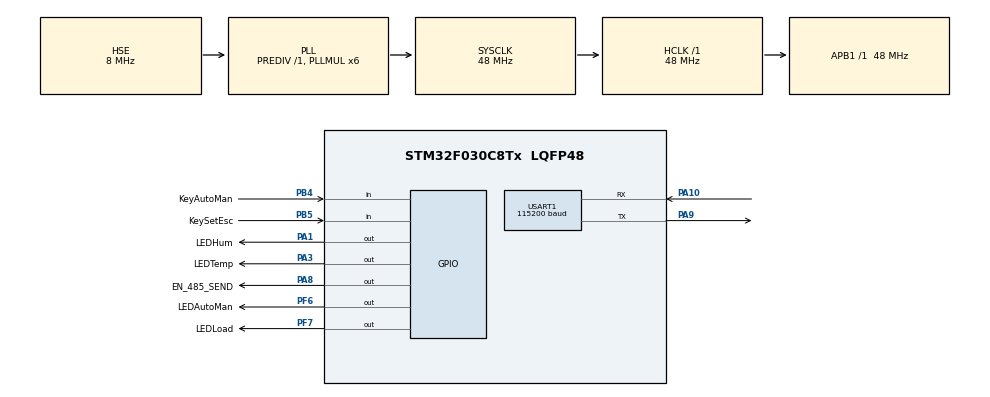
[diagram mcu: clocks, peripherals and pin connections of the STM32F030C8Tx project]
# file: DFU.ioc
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Mcu.Family=STM32F0
Mcu.Name=STM32F030C8Tx
Mcu.Package=LQFP48
PA1.GPIO_Label=LEDHum
PA1.GPIO_PuPd=GPIO_PULLUP
PA1.PinState=GPIO_PIN_SET
PA1.Signal=GPIO_Output
PA10.Mode=Asynchronous
PA10.Signal=USART1_RX
PA3.GPIO_Label=LEDTemp
PA3.GPIO_ModeDefaultOutputPP=GPIO_MODE_OUTPUT_PP
PA3.GPIO_PuPd=GPIO_PULLUP
PA3.PinState=GPIO_PIN_SET
PA3.Signal=GPIO_Output
PA8.GPIO_Label=EN_485_SEND
PA8.GPIO_PuPd=GPIO_PULLUP
PA8.Signal=GPIO_Output
PA9.Mode=Asynchronous
PA9.Signal=USART1_TX
PB4.GPIO_Label=KeyAutoMan
PB4.Signal=GPIO_Input
PB5.GPIO_Label=KeySetEsc
PB5.Signal=GPIO_Input
PF0-OSC_IN.Mode=HSE-External-Oscillator
PF0-OSC_IN.Signal=RCC_OSC_IN
PF1-OSC_OUT.Mode=HSE-External-Oscillator
PF1-OSC_OUT.Signal=RCC_OSC_OUT
PF6.GPIO_Label=LEDAutoMan
PF6.GPIO_ModeDefaultOutputPP=GPIO_MODE_OUTPUT_PP
PF6.GPIO_PuPd=GPIO_PULLUP
PF6.PinState=GPIO_PIN_SET
PF6.Signal=GPIO_Output
PF7.GPIO_Label=LEDLoad
PF7.GPIO_PuPd=GPIO_PULLUP
PF7.PinState=GPIO_PIN_SET
PF7.Signal=GPIO_Output
ProjectManager.HeapSize=0x200
ProjectManager.StackSize=0x400
ProjectManager.TargetToolchain=MDK-ARM V5
RCC.AHBFreq_Value=48000000
RCC.APB1Freq_Value=48000000
RCC.APB1TimFreq_Value=48000000
RCC.HCLKFreq_Value=48000000
RCC.PLLMUL=RCC_PLL_MUL6
RCC.PLLSourceVirtual=RCC_PLLSOURCE_HSE
RCC.SYSCLKFreq_VALUE=48000000
RCC.SYSCLKSource=RCC_SYSCLKSOURCE_PLLCLK
USART1.BaudRate=115200
USART1.VirtualMode-Asynchronous=VM_ASYNC
VP_CRC_VS_CRC.Mode=CRC_Activate
board=custom

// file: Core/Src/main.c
/**
  ******************************************************************************
  * @file           : main.c
  * @brief          : Main program body
  ******************************************************************************
  ** This notice applies to any and all portions of this file
  * that are not between comment pairs USER CODE BEGIN and
  * USER CODE END. Other portions of this file, whether
  * inserted by the user or by software development tools
  * are owned by their respective copyright owners.
  *
  * COPYRIGHT(c) 2018 STMicroelectronics
  *
  * Redistribution and use in source and binary forms, with or without modification,
  * are permitted provided that the following conditions are met:
  *   1. Redistributions of source code must retain the above copyright notice,
  *      this list of conditions and the following disclaimer.
  *   2. Redistributions in binary form must reproduce the above copyright notice,
  *      this list of conditions and the following disclaimer in the documentation
  *      and/or other materials provided with the distribution.
  *   3. Neither the name of STMicroelectronics nor the names of its contributors
  *      may be used to endorse or promote products derived from this software
  *      without specific prior written permission.
  *
  * THIS SOFTWARE IS PROVIDED BY THE COPYRIGHT HOLDERS AND CONTRIBUTORS "AS IS"
  * AND ANY EXPRESS OR IMPLIED WARRANTIES, INCLUDING, BUT NOT LIMITED TO, THE
  * IMPLIED WARRANTIES OF MERCHANTABILITY AND FITNESS FOR A PARTICULAR PURPOSE ARE
  * DISCLAIMED. IN NO EVENT SHALL THE COPYRIGHT HOLDER OR CONTRIBUTORS BE LIABLE
  * FOR ANY DIRECT, INDIRECT, INCIDENTAL, SPECIAL, EXEMPLARY, OR CONSEQUENTIAL
  * DAMAGES (INCLUDING, BUT NOT LIMITED TO, PROCUREMENT OF SUBSTITUTE GOODS OR
  * SERVICES; LOSS OF USE, DATA, OR PROFITS; OR BUSINESS INTERRUPTION) HOWEVER
  * CAUSED AND ON ANY THEORY OF LIABILITY, WHETHER IN CONTRACT, STRICT LIABILITY,
  * OR TORT (INCLUDING NEGLIGENCE OR OTHERWISE) ARISING IN ANY WAY OUT OF THE USE
  * OF THIS SOFTWARE, EVEN IF ADVISED OF THE POSSIBILITY OF SUCH DAMAGE.
  *
  ******************************************************************************
  */
#include "main.h"
#include "stm32f0xx_hal.h"
#include "crc.h"
#include "usart.h"
#include "gpio.h"

//test gitfdafaf
/* USER CODE BEGIN Includes */
#include <stdbool.h>
#include "menu.h"
/* USER CODE END Includes */

/* USER CODE BEGIN PV */
/* Private variables ---------------------------------------------------------*/

extern pFunction JumpToApplication;
extern uint32_t JumpAddress;
/* USER CODE END PV */

void SystemClock_Config(void);

/* USER CODE BEGIN PFP */
/* Private function prototypes -----------------------------------------------*/

/* USER CODE END PFP */

int main(void)
{
  /* USER CODE BEGIN 1 */
  uint16_t unKeyPressedCnt = 0;
  /* USER CODE END 1 */

  /* MCU Configuration----------------------------------------------------------*/

  /* Reset of all peripherals, Initializes the Flash interface and the Systick. */
  HAL_Init();

  /* Configure the system clock */
  SystemClock_Config();

  /* Initialize all configured peripherals */
  MX_GPIO_Init();
  MX_USART1_UART_Init();
  MX_CRC_Init();
  /* USER CODE BEGIN 2 */
  while(BTN_AUTO_MAN_STATE() == false && BTN_SET_ESC_STATE() == false && unKeyPressedCnt < 200) {
    HAL_Delay(10);
    unKeyPressedCnt++;
  }
	//bool isApp = true;
  /* Test if Key push-button on STM32L073Z-EVAL Board is pressed */
  if (unKeyPressedCnt >= 200)
  {
  	/* Initialise Flash */
    SET_ALL_LED();
  	FLASH_If_Init();
  	/* Execute the IAP driver in order to reprogram the Flash */
   // IAP_Init();
    /* Display main menu */
    Main_Menu ();
  }
  /* Keep the user application running */
  else
  {
    /* Test if user code is programmed starting from address "APPLICATION_ADDRESS" */
    if (((*(__IO uint32_t*)APPLICATION_ADDRESS) & 0x2FFE0000 ) == 0x20000000)
    {
      /* Jump to user application */
      JumpAddress = *(__IO uint32_t*) (APPLICATION_ADDRESS + 4);
      JumpToApplication = (pFunction) JumpAddress;
      /* Initialize user application's Stack Pointer */
      __set_MSP(*(__IO uint32_t*) APPLICATION_ADDRESS);
      JumpToApplication();
    }
  }

  /* USER CODE END 2 */

  /* Infinite loop */
  while (1)
  {

  }

}

void SystemClock_Config(void)
{

  RCC_OscInitTypeDef RCC_OscInitStruct;
  RCC_ClkInitTypeDef RCC_ClkInitStruct;
  RCC_PeriphCLKInitTypeDef PeriphClkInit;

    /**Initializes the CPU, AHB and APB busses clocks
    */
  RCC_OscInitStruct.OscillatorType = RCC_OSCILLATORTYPE_HSE;
  RCC_OscInitStruct.HSEState = RCC_HSE_ON;
  RCC_OscInitStruct.PLL.PLLState = RCC_PLL_ON;
  RCC_OscInitStruct.PLL.PLLSource = RCC_PLLSOURCE_HSE;
  RCC_OscInitStruct.PLL.PLLMUL = RCC_PLL_MUL6;
  RCC_OscInitStruct.PLL.PREDIV = RCC_PREDIV_DIV1;
  if (HAL_RCC_OscConfig(&RCC_OscInitStruct) != HAL_OK)
  {
    _Error_Handler(__FILE__, __LINE__);
  }

    /**Initializes the CPU, AHB and APB busses clocks
    */
  RCC_ClkInitStruct.ClockType = RCC_CLOCKTYPE_HCLK|RCC_CLOCKTYPE_SYSCLK
                              |RCC_CLOCKTYPE_PCLK1;
  RCC_ClkInitStruct.SYSCLKSource = RCC_SYSCLKSOURCE_PLLCLK;
  RCC_ClkInitStruct.AHBCLKDivider = RCC_SYSCLK_DIV1;
  RCC_ClkInitStruct.APB1CLKDivider = RCC_HCLK_DIV1;

  if (HAL_RCC_ClockConfig(&RCC_ClkInitStruct, FLASH_LATENCY_1) != HAL_OK)
  {
    _Error_Handler(__FILE__, __LINE__);
  }

  PeriphClkInit.PeriphClockSelection = RCC_PERIPHCLK_USART1;
  PeriphClkInit.Usart1ClockSelection = RCC_USART1CLKSOURCE_PCLK1;
  if (HAL_RCCEx_PeriphCLKConfig(&PeriphClkInit) != HAL_OK)
  {
    _Error_Handler(__FILE__, __LINE__);
  }

    /**Configure the Systick interrupt time
    */
  HAL_SYSTICK_Config(HAL_RCC_GetHCLKFreq()/1000);

    /**Configure the Systick
    */
  HAL_SYSTICK_CLKSourceConfig(SYSTICK_CLKSOURCE_HCLK);

  /* SysTick_IRQn interrupt configuration */
  HAL_NVIC_SetPriority(SysTick_IRQn, 0, 0);
}

void _Error_Handler(char *file, int line)
{
  while(1)
  {
  }
}

/************************ (C) COPYRIGHT STMicroelectronics *****END OF FILE****/
